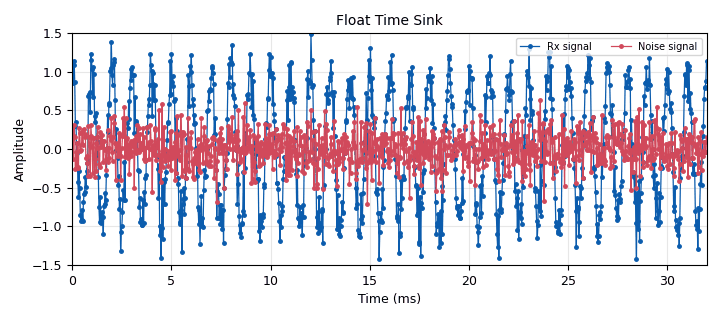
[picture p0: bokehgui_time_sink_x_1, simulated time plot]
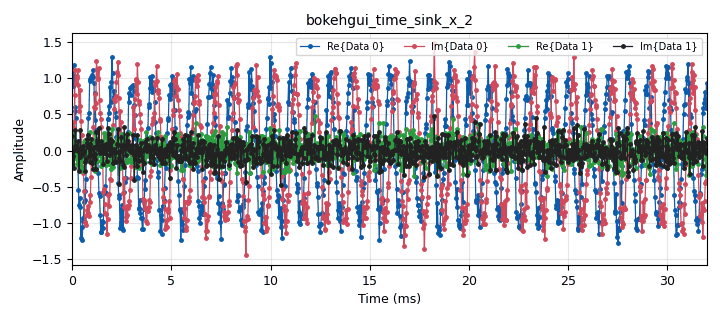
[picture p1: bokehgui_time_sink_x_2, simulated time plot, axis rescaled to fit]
<?xml version='1.0' encoding='utf-8'?>
<?grc format='1' created='3.7.12'?>
<flow_graph>
<block>
<key>options</key>
<param><key>id</key><value>test_time_sink</value></param>
<param><key>author</key><value>Kartik Patel</value></param>
<param><key>generate_options</key><value>bokeh_gui</value></param>
<param><key>manual_layout</key><value>True</value></param>
<param><key>title</key><value>Test GRC for Time Sink</value></param>
</block>
<block>
<key>variable</key>
<param><key>id</key><value>noise_amp</value></param>
<param><key>value</key><value>0.2</value></param>
</block>
<block>
<key>variable</key>
<param><key>id</key><value>samp_rate</value></param>
<param><key>value</key><value>32000</value></param>
</block>
<block>
<key>analog_noise_source_x</key>
<param><key>id</key><value>analog_noise_source_x_0</value></param>
<param><key>amp</key><value>noise_amp</value></param>
<param><key>noise_type</key><value>analog.GR_GAUSSIAN</value></param>
<param><key>type</key><value>complex</value></param>
<param><key>seed</key><value>0</value></param>
</block>
<block>
<key>analog_noise_source_x</key>
<param><key>id</key><value>analog_noise_source_x_1</value></param>
<param><key>amp</key><value>noise_amp</value></param>
<param><key>noise_type</key><value>analog.GR_GAUSSIAN</value></param>
<param><key>type</key><value>float</value></param>
<param><key>seed</key><value>0</value></param>
</block>
<block>
<key>analog_sig_source_x</key>
<param><key>id</key><value>analog_sig_source_x_0</value></param>
<param><key>amp</key><value>1</value></param>
<param><key>freq</key><value>1000</value></param>
<param><key>offset</key><value>0</value></param>
<param><key>type</key><value>complex</value></param>
<param><key>samp_rate</key><value>samp_rate</value></param>
<param><key>waveform</key><value>analog.GR_COS_WAVE</value></param>
</block>
<block>
<key>analog_sig_source_x</key>
<param><key>id</key><value>analog_sig_source_x_1</value></param>
<param><key>amp</key><value>1</value></param>
<param><key>freq</key><value>1000</value></param>
<param><key>offset</key><value>0</value></param>
<param><key>type</key><value>float</value></param>
<param><key>samp_rate</key><value>samp_rate</value></param>
<param><key>waveform</key><value>analog.GR_COS_WAVE</value></param>
</block>
<block>
<key>blocks_add_xx</key>
<param><key>id</key><value>blocks_add_xx_0</value></param>
<param><key>type</key><value>complex</value></param>
</block>
<block>
<key>blocks_add_xx</key>
<param><key>id</key><value>blocks_add_xx_1</value></param>
<param><key>type</key><value>float</value></param>
</block>
<block>
<key>blocks_throttle</key>
<param><key>id</key><value>blocks_throttle_0</value></param>
<param><key>samples_per_second</key><value>samp_rate</value></param>
<param><key>type</key><value>complex</value></param>
</block>
<block>
<key>blocks_throttle</key>
<param><key>id</key><value>blocks_throttle_1</value></param>
<param><key>samples_per_second</key><value>samp_rate</value></param>
<param><key>type</key><value>float</value></param>
</block>
<block>
<key>bokehgui_time_sink_x</key>
<param><key>id</key><value>bokehgui_time_sink_x_1</value></param>
<param><key>axislabels</key><value>True</value></param>
<param><key>entags</key><value>True</value></param>
<param><key>grid</key><value>True</value></param>
<param><key>legend</key><value>True</value></param>
<param><key>alpha1</key><value>1</value></param>
<param><key>color1</key><value>"blue"</value></param>
<param><key>label1</key><value>Rx signal</value></param>
<param><key>marker1</key><value>None</value></param>
<param><key>style1</key><value>"solid"</value></param>
<param><key>width1</key><value>2</value></param>
<param><key>alpha2</key><value>1</value></param>
<param><key>color2</key><value>"red"</value></param>
<param><key>label2</key><value>Noise signal</value></param>
<param><key>marker2</key><value>None</value></param>
<param><key>style2</key><value>"dotted"</value></param>
<param><key>width2</key><value>1</value></param>
<param><key>alpha3</key><value>1.0</value></param>
<param><key>color3</key><value>"green"</value></param>
<param><key>label3</key><value></value></param>
<param><key>marker3</key><value>None</value></param>
<param><key>style3</key><value>"solid"</value></param>
<param><key>width3</key><value>1</value></param>
<param><key>alpha4</key><value>1.0</value></param>
<param><key>color4</key><value>"black"</value></param>
<param><key>label4</key><value></value></param>
<param><key>marker4</key><value>None</value></param>
<param><key>style4</key><value>"solid"</value></param>
<param><key>width4</key><value>1</value></param>
<param><key>name</key><value>Float Time Sink</value></param>
<param><key>nconnections</key><value>2</value></param>
<param><key>size</key><value>1024</value></param>
<param><key>srate</key><value>samp_rate</value></param>
<param><key>tr_chan</key><value>0</value></param>
<param><key>tr_delay</key><value>0</value></param>
<param><key>tr_level</key><value>0.0</value></param>
<param><key>tr_mode</key><value>bokehgui.TRIG_MODE_FREE</value></param>
<param><key>tr_slope</key><value>bokehgui.TRIG_SLOPE_POS</value></param>
<param><key>tr_tag</key><value>""</value></param>
<param><key>type</key><value>float</value></param>
<param><key>update_time</key><value>100</value></param>
<param><key>xlabel</key><value>Time</value></param>
<param><key>xlog</key><value>False</value></param>
<param><key>xunit</key><value>""</value></param>
<param><key>ylabel</key><value>Amplitude</value></param>
<param><key>ylog</key><value>False</value></param>
<param><key>yunit</key><value>""</value></param>
<param><key>ymax</key><value>1.5</value></param>
<param><key>ymin</key><value>-1.5</value></param>
</block>
<block>
<key>bokehgui_time_sink_x</key>
<param><key>id</key><value>bokehgui_time_sink_x_2</value></param>
<param><key>axislabels</key><value>True</value></param>
<param><key>entags</key><value>True</value></param>
<param><key>grid</key><value>False</value></param>
<param><key>legend</key><value>True</value></param>
<param><key>alpha1</key><value>1.0</value></param>
<param><key>color1</key><value>"blue"</value></param>
<param><key>label1</key><value></value></param>
<param><key>marker1</key><value>None</value></param>
<param><key>style1</key><value>"solid"</value></param>
<param><key>width1</key><value>1</value></param>
<param><key>alpha2</key><value>1.0</value></param>
<param><key>color2</key><value>"red"</value></param>
<param><key>label2</key><value></value></param>
<param><key>marker2</key><value>None</value></param>
<param><key>style2</key><value>"solid"</value></param>
<param><key>width2</key><value>1</value></param>
<param><key>alpha3</key><value>1.0</value></param>
<param><key>color3</key><value>"green"</value></param>
<param><key>label3</key><value></value></param>
<param><key>marker3</key><value>None</value></param>
<param><key>style3</key><value>"solid"</value></param>
<param><key>width3</key><value>1</value></param>
<param><key>alpha4</key><value>1.0</value></param>
<param><key>color4</key><value>"black"</value></param>
<param><key>label4</key><value></value></param>
<param><key>marker4</key><value>None</value></param>
<param><key>style4</key><value>"solid"</value></param>
<param><key>width4</key><value>1</value></param>
<param><key>name</key><value>""</value></param>
<param><key>nconnections</key><value>2</value></param>
<param><key>size</key><value>1024</value></param>
<param><key>srate</key><value>samp_rate</value></param>
<param><key>tr_chan</key><value>0</value></param>
<param><key>tr_delay</key><value>0</value></param>
<param><key>tr_level</key><value>0.0</value></param>
<param><key>tr_mode</key><value>bokehgui.TRIG_MODE_FREE</value></param>
<param><key>tr_slope</key><value>bokehgui.TRIG_SLOPE_POS</value></param>
<param><key>tr_tag</key><value>""</value></param>
<param><key>type</key><value>complex</value></param>
<param><key>update_time</key><value>100</value></param>
<param><key>xlabel</key><value>Time</value></param>
<param><key>xlog</key><value>False</value></param>
<param><key>xunit</key><value>""</value></param>
<param><key>ylabel</key><value>Amplitude</value></param>
<param><key>ylog</key><value>False</value></param>
<param><key>yunit</key><value>""</value></param>
<param><key>ymax</key><value>1</value></param>
<param><key>ymin</key><value>-1</value></param>
</block>
<connection><source_block_id>analog_noise_source_x_0</source_block_id><sink_block_id>blocks_add_xx_0</sink_block_id><source_key>0</source_key><sink_key>1</sink_key></connection>
<connection><source_block_id>analog_noise_source_x_0</source_block_id><sink_block_id>bokehgui_time_sink_x_2</sink_block_id><source_key>0</source_key><sink_key>1</sink_key></connection>
<connection><source_block_id>analog_noise_source_x_1</source_block_id><sink_block_id>blocks_add_xx_1</sink_block_id><source_key>0</source_key><sink_key>1</sink_key></connection>
<connection><source_block_id>analog_noise_source_x_1</source_block_id><sink_block_id>bokehgui_time_sink_x_1</sink_block_id><source_key>0</source_key><sink_key>1</sink_key></connection>
<connection><source_block_id>analog_sig_source_x_0</source_block_id><sink_block_id>blocks_add_xx_0</sink_block_id><source_key>0</source_key><sink_key>0</sink_key></connection>
<connection><source_block_id>analog_sig_source_x_1</source_block_id><sink_block_id>blocks_add_xx_1</sink_block_id><source_key>0</source_key><sink_key>0</sink_key></connection>
<connection><source_block_id>blocks_add_xx_0</source_block_id><sink_block_id>blocks_throttle_0</sink_block_id><source_key>0</source_key><sink_key>0</sink_key></connection>
<connection><source_block_id>blocks_add_xx_1</source_block_id><sink_block_id>blocks_throttle_1</sink_block_id><source_key>0</source_key><sink_key>0</sink_key></connection>
<connection><source_block_id>blocks_throttle_0</source_block_id><sink_block_id>bokehgui_time_sink_x_2</sink_block_id><source_key>0</source_key><sink_key>0</sink_key></connection>
<connection><source_block_id>blocks_throttle_1</source_block_id><sink_block_id>bokehgui_time_sink_x_1</sink_block_id><source_key>0</source_key><sink_key>0</sink_key></connection>
</flow_graph>
